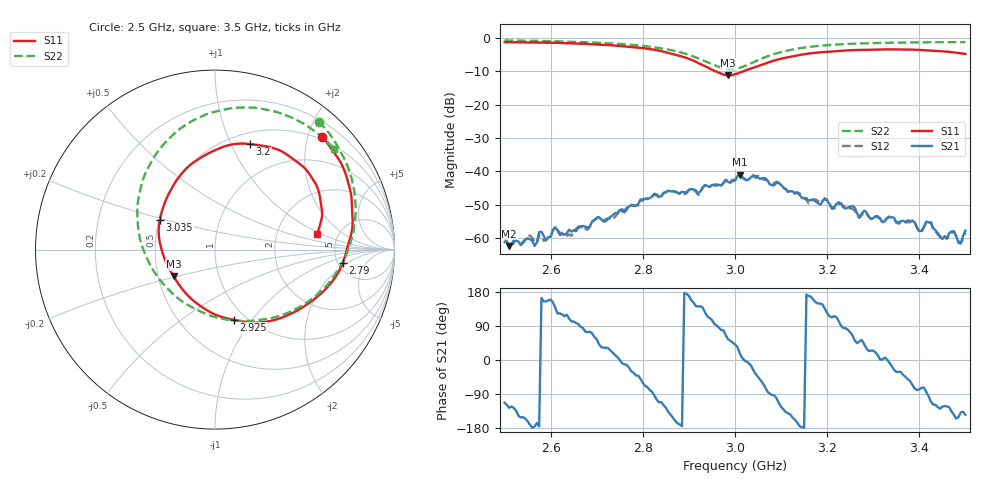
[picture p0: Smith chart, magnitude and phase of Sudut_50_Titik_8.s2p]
# Hz S RI R 50
! CMT, C1220, 16058040, 17.2.0/1
! Date: 15/08/2018 09:54:21
! Data: Format (Calibration Info)
! Freq  S11: Re/Im (F2)  S21: Re/Im (F2)  S12: Re/Im (F2)  S22: Re/Im (F2)
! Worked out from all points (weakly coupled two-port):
!   201 points, 2.5 GHz to 3.5 GHz, reference 50 ohm
!   highest |S21| = -40.99 dB at 3.01 GHz (marker M1); lowest = -62.4 dB at 2.51 GHz (marker M2)
!   lowest |S11| = -11.2 dB at 2.985 GHz (marker M3), VSWR 1.76, Z = 30.1 - j9.75 ohm
!   |S11| at or under -10 dB: 2.958 GHz to 3.018 GHz (59.79 MHz wide, 2 % of centre)
!   |S22| runs from -9.4 to -0.7 dB; largest |S21 - S12| = 0.00071
!   S11 on the Smith chart (normalised r, x): 2.5 GHz: 0.45, +2.26; 2.79 GHz: 5.53, -1.66; 2.925 GHz: 0.88, -0.82; 3.035 GHz: 0.51, +0.19; 3.2 GHz: 0.62, +1.18; 3.5 GHz: 3.45, +0.92
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2.5e9  0.598 0.6271  -0.000335 -0.000803  -0.000393 -0.000904  0.5787 0.7129
2.51e9  0.6106 0.6127  -0.00045 -0.000612  -0.00045 -0.000609  0.5898 0.7021
2.67e9  0.758 0.3087  0.000152 0.00152  0.000226 0.00144  0.7481 0.4396
2.79e9  0.7123 -0.0732  0.00243 -0.00215  0.00222 -0.00215  0.7703 0.0897
2.835e9  0.6015 -0.2349  -0.00155 -0.0039  -0.00143 -0.00382  0.7039 -0.0834
2.925e9  0.1057 -0.3914  -0.00398 0.00308  -0.00389 0.00272  0.2856 -0.3864
2.985e9  -0.2303 -0.1498  0.00403 0.00568  0.00389 0.00596  -0.1751 -0.2945
3e9  -0.2801 -0.0533  0.0055 0.00484  0.00576 0.00455  -0.2735 -0.2079
3.01e9  -0.3007 0.0112  0.00845 0.00286  0.00806 0.00282  -0.3288 -0.1389
3.035e9  -0.3075 0.1642  0.00793 -0.00212  0.00798 -0.002  -0.4162 0.0517
3.1e9  -0.1424 0.4679  -0.00345 -0.00524  -0.00354 -0.00493  -0.3426 0.5093
3.17e9  0.1022 0.5869  -0.00354 0.00134  -0.00366 0.00109  -0.0713 0.7434
3.2e9  0.1957 0.5878  -0.00203 0.00301  -0.00189 0.00318  0.0414 0.7779
3.27e9  0.3813 0.5421  0.00134 0.00155  0.00127 0.00157  0.2628 0.784
3.335e9  0.5074 0.4461  0.00204 -0.000263  0.00207 -0.000418  0.4156 0.7408
3.39e9  0.5702 0.3466  0.000431 -0.00166  0.000467 -0.00171  0.5161 0.6879
3.4e9  0.5764 0.3277  0.000282 -0.00124  0.000178 -0.00122  0.532 0.6762
3.425e9  0.5886 0.2664  -0.000584 -0.00164  -0.000554 -0.00163  0.5705 0.6487
3.45e9  0.5966 0.2064  -0.000526 -0.000814  -0.000526 -0.000794  0.6052 0.6193
3.475e9  0.5882 0.1501  -0.00103 -0.000739  -0.000965 -0.000764  0.6344 0.5897
3.49e9  0.5784 0.113  -0.000621 -0.000551  -0.000655 -0.000527  0.6524 0.5709
3.5e9  0.569 0.0896  -0.00106 -0.000757  -0.000988 -0.00069  0.6634 0.5591
